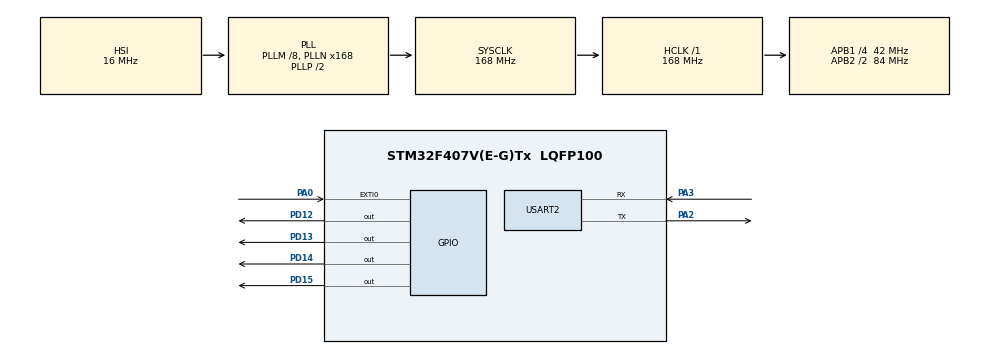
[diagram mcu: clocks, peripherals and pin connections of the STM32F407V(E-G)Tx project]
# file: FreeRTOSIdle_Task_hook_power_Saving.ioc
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Mcu.Family=STM32F4
Mcu.Name=STM32F407V(E-G)Tx
Mcu.Package=LQFP100
NVIC.PriorityGroup=NVIC_PRIORITYGROUP_4
NVIC.TIM6_DAC_IRQn=true\:15\:0\:false\:false\:true\:false\:true\:true
NVIC.TimeBase=TIM6_DAC_IRQn
NVIC.TimeBaseIP=TIM6
PA0-WKUP.Signal=GPXTI0
PA2.Mode=Asynchronous
PA2.Signal=USART2_TX
PA3.Mode=Asynchronous
PA3.Signal=USART2_RX
PD12.Signal=GPIO_Output
PD13.Signal=GPIO_Output
PD14.Signal=GPIO_Output
PD15.Signal=GPIO_Output
PH0-OSC_IN.Mode=HSE-External-Oscillator
PH0-OSC_IN.Signal=RCC_OSC_IN
PH1-OSC_OUT.Mode=HSE-External-Oscillator
PH1-OSC_OUT.Signal=RCC_OSC_OUT
ProjectManager.HeapSize=0x200
ProjectManager.StackSize=0x400
ProjectManager.TargetToolchain=STM32CubeIDE
RCC.48MHZClocksFreq_Value=84000000
RCC.AHBFreq_Value=168000000
RCC.APB1CLKDivider=RCC_HCLK_DIV4
RCC.APB1Freq_Value=42000000
RCC.APB1TimFreq_Value=84000000
RCC.APB2CLKDivider=RCC_HCLK_DIV2
RCC.APB2Freq_Value=84000000
RCC.APB2TimFreq_Value=168000000
RCC.CortexFreq_Value=168000000
RCC.HCLKFreq_Value=168000000
RCC.HSE_VALUE=25000000
RCC.HSI_VALUE=16000000
RCC.LSE_VALUE=32768
RCC.PLLM=8
RCC.PLLN=168
RCC.SYSCLKFreq_VALUE=168000000
RCC.SYSCLKSource=RCC_SYSCLKSOURCE_PLLCLK
RCC.VCOOutputFreq_Value=336000000
USART2.VirtualMode=VM_ASYNC
VP_SYS_VS_tim6.Mode=TIM6
board=custom

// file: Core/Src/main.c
/* USER CODE BEGIN Header */
/**
  ******************************************************************************
  * @file           : main.c
  * @brief          : Main program body
  ******************************************************************************
  * @attention
  *
  * Copyright (c) 2023 STMicroelectronics.
  * All rights reserved.
  *
  * This software is licensed under terms that can be found in the LICENSE file
  * in the root directory of this software component.
  * If no LICENSE file comes with this software, it is provided AS-IS.
  *
  ******************************************************************************
  */
/* USER CODE END Header */
#include "main.h"

/* USER CODE BEGIN Includes */
#include <stdio.h>
#include "FreeRTOS.h"
#include "task.h"
/* USER CODE END Includes */

UART_HandleTypeDef huart2;

/* USER CODE BEGIN PV */

#define DWT_CTRL (*(volatile uint32_t*) 0xE0001000)   // for segger sysview config

volatile BaseType_t status_button = 0;

/* USER CODE END PV */

void SystemClock_Config(void);
static void MX_GPIO_Init(void);
static void MX_USART2_UART_Init(void);
/* USER CODE BEGIN PFP */

static void led_orange_handler (void* parameters);
static void led_blue_handler (void* parameters);

extern void SEGGER_UART_init(uint32_t);

/* USER CODE END PFP */

int main(void)
{
  /* USER CODE BEGIN 1 */

	BaseType_t status;

	TaskHandle_t ledo_task_handle;
	TaskHandle_t ledb_task_handle;

  /* USER CODE END 1 */

  /* MCU Configuration--------------------------------------------------------*/

  /* Reset of all peripherals, Initializes the Flash interface and the Systick. */
  HAL_Init();

  /* Configure the system clock */
  SystemClock_Config();

  /* Initialize all configured peripherals */
  MX_GPIO_Init();
  MX_USART2_UART_Init();
  /* USER CODE BEGIN 2 */

  SEGGER_UART_init(500000);

  //CYCLCNT enable
  DWT_CTRL |= ( 1 << 0);        //Enable CYCCNT in DWT_CTRL.

  SEGGER_SYSVIEW_Conf();

  status = xTaskCreate(led_orange_handler, "Task-1", 200, NULL, 2, &ledo_task_handle);

  configASSERT(status == pdPASS);

  status = xTaskCreate(led_blue_handler, "Task-2", 200, NULL, 1, &ledb_task_handle);

  configASSERT(status == pdPASS);

  //start the freeRTOS scheduler
  vTaskStartScheduler();

  /* USER CODE END 2 */

  /* Infinite loop */
  while (1)
  {

  }
}

void SystemClock_Config(void)
{
  RCC_OscInitTypeDef RCC_OscInitStruct = {0};
  RCC_ClkInitTypeDef RCC_ClkInitStruct = {0};

  /** Configure the main internal regulator output voltage
  */
  __HAL_RCC_PWR_CLK_ENABLE();
  __HAL_PWR_VOLTAGESCALING_CONFIG(PWR_REGULATOR_VOLTAGE_SCALE1);

  /** Initializes the RCC Oscillators according to the specified parameters
  * in the RCC_OscInitTypeDef structure.
  */
  RCC_OscInitStruct.OscillatorType = RCC_OSCILLATORTYPE_HSI;
  RCC_OscInitStruct.HSIState = RCC_HSI_ON;
  RCC_OscInitStruct.HSICalibrationValue = RCC_HSICALIBRATION_DEFAULT;
  RCC_OscInitStruct.PLL.PLLState = RCC_PLL_ON;
  RCC_OscInitStruct.PLL.PLLSource = RCC_PLLSOURCE_HSI;
  RCC_OscInitStruct.PLL.PLLM = 8;
  RCC_OscInitStruct.PLL.PLLN = 168;
  RCC_OscInitStruct.PLL.PLLP = RCC_PLLP_DIV2;
  RCC_OscInitStruct.PLL.PLLQ = 4;
  if (HAL_RCC_OscConfig(&RCC_OscInitStruct) != HAL_OK)
  {
    Error_Handler();
  }

  /** Initializes the CPU, AHB and APB buses clocks
  */
  RCC_ClkInitStruct.ClockType = RCC_CLOCKTYPE_HCLK|RCC_CLOCKTYPE_SYSCLK
                              |RCC_CLOCKTYPE_PCLK1|RCC_CLOCKTYPE_PCLK2;
  RCC_ClkInitStruct.SYSCLKSource = RCC_SYSCLKSOURCE_PLLCLK;
  RCC_ClkInitStruct.AHBCLKDivider = RCC_SYSCLK_DIV1;
  RCC_ClkInitStruct.APB1CLKDivider = RCC_HCLK_DIV4;
  RCC_ClkInitStruct.APB2CLKDivider = RCC_HCLK_DIV2;

  if (HAL_RCC_ClockConfig(&RCC_ClkInitStruct, FLASH_LATENCY_5) != HAL_OK)
  {
    Error_Handler();
  }
}

static void MX_USART2_UART_Init(void)
{

  huart2.Instance = USART2;
  huart2.Init.BaudRate = 115200;
  huart2.Init.WordLength = UART_WORDLENGTH_8B;
  huart2.Init.StopBits = UART_STOPBITS_1;
  huart2.Init.Parity = UART_PARITY_NONE;
  huart2.Init.Mode = UART_MODE_TX_RX;
  huart2.Init.HwFlowCtl = UART_HWCONTROL_NONE;
  huart2.Init.OverSampling = UART_OVERSAMPLING_16;
  if (HAL_UART_Init(&huart2) != HAL_OK)
  {
    Error_Handler();
  }

}

static void MX_GPIO_Init(void)
{
  GPIO_InitTypeDef GPIO_InitStruct = {0};

  /* GPIO Ports Clock Enable */
  __HAL_RCC_GPIOH_CLK_ENABLE();
  __HAL_RCC_GPIOA_CLK_ENABLE();
  __HAL_RCC_GPIOD_CLK_ENABLE();

  /*Configure GPIO pin Output Level */
  HAL_GPIO_WritePin(GPIOD, GPIO_PIN_12|GPIO_PIN_13|GPIO_PIN_14|GPIO_PIN_15, GPIO_PIN_RESET);

  /*Configure GPIO pin : PA0 */
  GPIO_InitStruct.Pin = GPIO_PIN_0;
  GPIO_InitStruct.Mode = GPIO_MODE_IT_RISING;
  GPIO_InitStruct.Pull = GPIO_NOPULL;
  HAL_GPIO_Init(GPIOA, &GPIO_InitStruct);

  /*Configure GPIO pins : PD12 PD13 PD14 PD15 */
  GPIO_InitStruct.Pin = GPIO_PIN_12|GPIO_PIN_13|GPIO_PIN_14|GPIO_PIN_15;
  GPIO_InitStruct.Mode = GPIO_MODE_OUTPUT_PP;
  GPIO_InitStruct.Pull = GPIO_NOPULL;
  GPIO_InitStruct.Speed = GPIO_SPEED_FREQ_LOW;
  HAL_GPIO_Init(GPIOD, &GPIO_InitStruct);

}

/* USER CODE BEGIN 4 */

static void led_orange_handler(void* parameters)
{
	while(1)
	{
		SEGGER_SYSVIEW_PrintfTarget("Toggling orange Led");
		printf("Status of the orange LED\r\n");
		HAL_GPIO_TogglePin(GPIOD, GPIO_PIN_13);
		vTaskDelay(pdMS_TO_TICKS(800));
	}
}

static void led_blue_handler(void* parameters)
{
	while(1)
	{
		SEGGER_SYSVIEW_PrintfTarget("Toggling blue Led");
		printf("Status of the Blue LED\r\n");
		HAL_GPIO_TogglePin(GPIOD, GPIO_PIN_15);
		vTaskDelay(pdMS_TO_TICKS(400));
	}
}

void vApplicationIdleHook( void )
{
	HAL_PWR_EnterSLEEPMode(PWR_MAINREGULATOR_ON, PWR_SLEEPENTRY_WFI);
}

/* USER CODE END 4 */

void HAL_TIM_PeriodElapsedCallback(TIM_HandleTypeDef *htim)
{
  if (htim->Instance == TIM6) {
    HAL_IncTick();
  }
}

void Error_Handler(void)
{
  __disable_irq();
  while (1)
  {
  }
}
